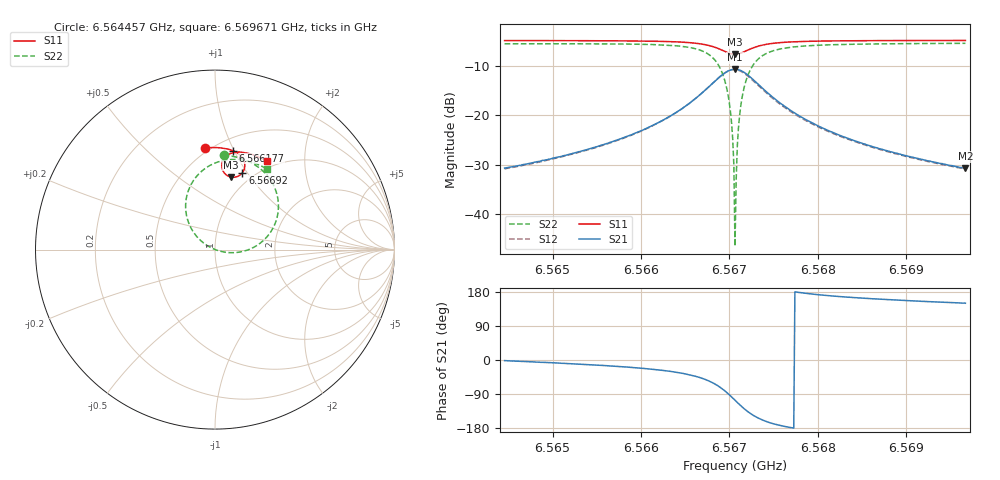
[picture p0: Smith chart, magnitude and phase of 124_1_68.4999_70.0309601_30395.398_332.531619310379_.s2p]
#  HZ  S  RI  R  50.00
! Rohde & Schwarz Vector Network Analyzer
! Rohde-Schwarz,ZNB20-2Port,1311601062101988,3.16
! Created: UTC 3/20/2024, 4:54:05 PM
! freq[Hz]  re:S11  im:S11  re:S21  im:S21  re:S12  im:S12  re:S22  im:S22
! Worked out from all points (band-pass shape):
!   401 points, 6.564457 GHz to 6.569671 GHz, reference 50 ohm
!   highest |S21| = -10.67 dB at 6.567064 GHz (marker M1); lowest = -30.7 dB at 6.569671 GHz (marker M2)
!   |S21| within 3 dB of the highest: 6.566803 GHz to 6.567324 GHz (521.2 kHz wide, 0.00794 % of centre)
!   lowest |S11| = -7.7 dB at 6.567064 GHz (marker M3), VSWR 2.41, Z = 41.6 + j40.6 ohm
!   |S11| at or under -10 dB: nowhere
!   |S22| runs from -46.4 to -5.4 dB; largest |S21 - S12| = 0.014
!   S11 on the Smith chart (normalised r, x): 6.564457 GHz: 0.47, +0.79; 6.566177 GHz: 0.61, +0.99; 6.56692 GHz: 0.88, +0.95; 6.569671 GHz: 0.90, +1.31
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6.5644569e9  -0.0545 0.5668  0.0293 -0.000805  0.0288 -0.00134  0.0475 0.5266
6.5653302e9  0.0176 0.5678  0.0429 -0.00864  0.0422 -0.00918  0.1321 0.5114
6.5661775e9  0.0986 0.5516  0.0746 -0.0359  0.0737 -0.0368  0.2486 0.4537
6.5662035e9  0.1014 0.5505  0.0762 -0.0377  0.0753 -0.0387  0.2534 0.4497
6.5667119e9  0.1614 0.4949  0.1124 -0.1338  0.1097 -0.1366  0.3529 0.2626
6.5668292e9  0.1659 0.4611  0.1011 -0.1932  0.0959 -0.197  0.3365 0.1493
6.5669205e9  0.1527 0.4282  0.0609 -0.2495  0.052 -0.2526  0.2626 0.0446
6.5669987e9  0.1223 0.4063  -0.00815 -0.2839  -0.0206 -0.283  0.1351 -0.0143
6.5670248e9  0.1089 0.4032  -0.0369 -0.2871  -0.0498 -0.2842  0.083 -0.0172
6.5670378e9  0.1017 0.403  -0.0517 -0.2865  -0.0649 -0.2825  0.0564 -0.0146
6.5670508e9  0.0946 0.4033  -0.0666 -0.2846  -0.0795 -0.2793  0.0301 -0.00919
6.5670639e9  0.0876 0.4045  -0.0814 -0.281  -0.0938 -0.2745  0.0046 -0.00127
6.5670899e9  0.0741 0.4092  -0.1092 -0.2698  -0.1206 -0.2612  -0.0431 0.0224
6.567103e9  0.0679 0.4127  -0.122 -0.2622  -0.1326 -0.2528  -0.0646 0.0375
6.567116e9  0.0623 0.4165  -0.1339 -0.2536  -0.1436 -0.2433  -0.0839 0.0544
6.5671421e9  0.0524 0.4262  -0.1541 -0.2341  -0.1619 -0.2225  -0.1163 0.0918
6.5671942e9  0.0407 0.4484  -0.1803 -0.1895  -0.1844 -0.1773  -0.1547 0.1734
6.5672594e9  0.0383 0.4756  -0.1901 -0.1365  -0.1902 -0.1255  -0.1624 0.2671
6.5675071e9  0.0766 0.5305  -0.1458 -0.0287  -0.1425 -0.0242  -0.0598 0.4485
6.5679372e9  0.1396 0.5433  -0.0835 0.00876  -0.0813 0.0101  0.0796 0.5012
6.5688106e9  0.2227 0.524  -0.0404 0.0154  -0.0395 0.0157  0.2109 0.4846
6.5696709e9  0.2871 0.4936  -0.0253 0.0147  -0.0246 0.0148  0.2885 0.4498
